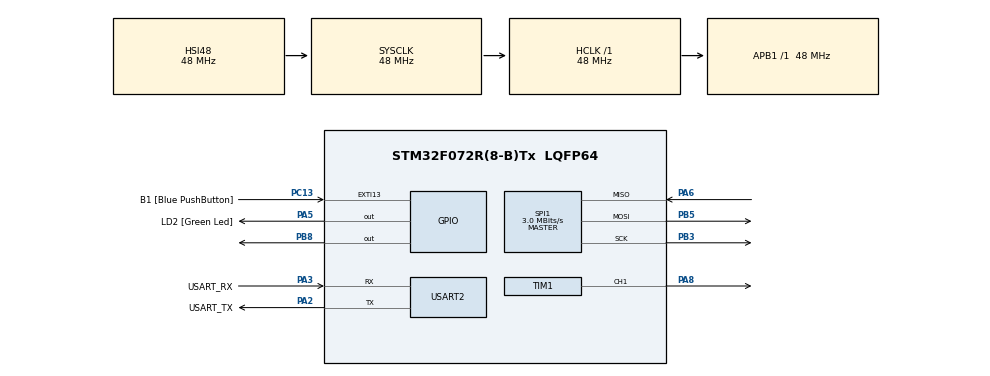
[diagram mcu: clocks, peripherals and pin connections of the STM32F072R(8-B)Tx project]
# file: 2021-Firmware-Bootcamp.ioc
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Mcu.Family=STM32F0
Mcu.Name=STM32F072R(8-B)Tx
Mcu.Package=LQFP64
PA13.GPIO_Label=TMS
PA13.Mode=Serial_Wire
PA13.Signal=SYS_SWDIO
PA14.GPIO_Label=TCK
PA14.Mode=Serial_Wire
PA14.Signal=SYS_SWCLK
PA2.GPIO_Label=USART_TX
PA2.GPIO_Mode=GPIO_MODE_AF_PP
PA2.GPIO_PuPd=GPIO_NOPULL
PA2.GPIO_Speed=GPIO_SPEED_FREQ_LOW
PA2.Mode=Asynchronous
PA2.Signal=USART2_TX
PA3.GPIO_Label=USART_RX
PA3.GPIO_Mode=GPIO_MODE_AF_PP
PA3.GPIO_PuPd=GPIO_NOPULL
PA3.GPIO_Speed=GPIO_SPEED_FREQ_LOW
PA3.Mode=Asynchronous
PA3.Signal=USART2_RX
PA5.GPIO_Label=LD2 [Green Led]
PA5.GPIO_Mode=GPIO_MODE_OUTPUT_PP
PA5.GPIO_PuPd=GPIO_NOPULL
PA5.GPIO_Speed=GPIO_SPEED_FREQ_LOW
PA5.Signal=GPIO_Output
PA6.Mode=Full_Duplex_Master
PA6.Signal=SPI1_MISO
PA8.Signal=S_TIM1_CH1
PB3.Mode=Full_Duplex_Master
PB3.Signal=SPI1_SCK
PB5.Mode=Full_Duplex_Master
PB5.Signal=SPI1_MOSI
PB8.Signal=GPIO_Output
PC13.GPIO_Label=B1 [Blue PushButton]
PC13.GPIO_ModeDefaultEXTI=GPIO_MODE_IT_FALLING
PC13.Signal=GPXTI13
PC14-OSC32_IN.Mode=LSE-External-Oscillator
PC14-OSC32_IN.Signal=RCC_OSC32_IN
PC15-OSC32_OUT.Mode=LSE-External-Oscillator
PC15-OSC32_OUT.Signal=RCC_OSC32_OUT
PF0-OSC_IN.Mode=HSE-External-Clock-Source
PF0-OSC_IN.Signal=RCC_OSC_IN
PF1-OSC_OUT.Signal=RCC_OSC_OUT
ProjectManager.HeapSize=0x200
ProjectManager.StackSize=0x400
ProjectManager.TargetToolchain=STM32CubeIDE
RCC.AHBFreq_Value=48000000
RCC.APB1Freq_Value=48000000
RCC.APB1TimFreq_Value=48000000
RCC.FLatency-AdvancedSettings=FLASH_LATENCY_1
RCC.HCLKFreq_Value=48000000
RCC.PLLDivider=RCC_PREDIV_DIV2
RCC.PLLMUL=RCC_PLL_MUL12
RCC.PREFETCH_ENABLE-AdvancedSettings=1
RCC.SYSCLKFreq_VALUE=48000000
RCC.SYSCLKSource=RCC_SYSCLKSOURCE_HSI48
SH.S_TIM1_CH1.0=TIM1_CH1,PWM Generation1 CH1
SPI1.BaudRatePrescaler=SPI_BAUDRATEPRESCALER_16
SPI1.CalculateBaudRate=3.0 MBits/s
SPI1.DataSize=SPI_DATASIZE_8BIT
SPI1.Direction=SPI_DIRECTION_2LINES
SPI1.FirstBit=SPI_FIRSTBIT_MSB
SPI1.Mode=SPI_MODE_MASTER
SPI1.NSSPMode=SPI_NSS_PULSE_DISABLE
SPI1.VirtualType=VM_MASTER
TIM1.Channel-PWM\ Generation1\ CH1=TIM_CHANNEL_1
TIM1.Prescaler=47
USART2.VirtualMode=VM_ASYNC
USART2.VirtualMode-Asynchronous=VM_ASYNC
VP_TIM1_VS_ClockSourceINT.Mode=Internal
board=NUCLEO-F072RB

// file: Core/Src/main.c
/* USER CODE BEGIN Header */
/**
  ******************************************************************************
  * @file           : main.c
  * @brief          : Main program body
  ******************************************************************************
  * @attention
  *
  * <h2><center>&copy; Copyright (c) 2021 STMicroelectronics.
  * All rights reserved.</center></h2>
  *
  * This software component is licensed by ST under BSD 3-Clause license,
  * the "License"; You may not use this file except in compliance with the
  * License. You may obtain a copy of the License at:
  *                        opensource.org/licenses/BSD-3-Clause
  *
  ******************************************************************************
  */
/* USER CODE END Header */
#include "main.h"
#include "spi.h"
#include "tim.h"
#include "usart.h"
#include "gpio.h"

/* USER CODE BEGIN PD */

#define ADC_MAX_VALUE 1023
#define DUTY_CYCLE_RANGE 3200

/* USER CODE END PD */

void SystemClock_Config(void);

int main(void)
{

  /* MCU Configuration--------------------------------------------------------*/

  /* Reset of all peripherals, Initializes the Flash interface and the Systick. */
  HAL_Init();

  /* Configure the system clock */
  SystemClock_Config();

  /* Initialize all configured peripherals */
  MX_GPIO_Init();
  MX_USART2_UART_Init();
  MX_SPI1_Init();
  MX_TIM1_Init();
  /* USER CODE BEGIN 2 */

  HAL_GPIO_WritePin(GPIOB, GPIO_PIN_8, GPIO_PIN_SET); //CS pin should be default high
  HAL_TIM_PWM_Start(&htim1, TIM_CHANNEL_1);  // Start PWM on channel 1

  //bits to send: 00000001 , 10000000, 00000000

  uint8_t txData[3]= {0x01, 0x80, 0};
  uint8_t rxData[3] = {0};
  uint16_t adcValue; //To only use the 10 bits that are useful
  uint16_t compareRegister;

  /* USER CODE END 2 */

  /* Infinite loop */
  /* USER CODE BEGIN WHILE */
  while (1)
  {
	  HAL_GPIO_WritePin(GPIOB, GPIO_PIN_8, GPIO_PIN_RESET); //CS low to start communication
	  HAL_SPI_TransmitReceive(&hspi1, txData, rxData, sizeof(txData), 1000);
	  HAL_GPIO_WritePin(GPIOB, GPIO_PIN_8, GPIO_PIN_SET); //CS high to end communication

	  //Useful data: last two bits of rxData[1] and all bits in rxData[2]

	  adcValue = (rxData[1] << 8) | rxData[2]; //converts the two bytes into 16bit number

	  compareRegister = ((float)adcValue/ADC_MAX_VALUE)*DUTY_CYCLE_RANGE + DUTY_CYCLE_RANGE;

	  __HAL_TIM_SET_COMPARE(&htim1, TIM_CHANNEL_1, compareRegister);

	  HAL_Delay(10);
    /* USER CODE END WHILE */

  }
}

void SystemClock_Config(void)
{
  RCC_OscInitTypeDef RCC_OscInitStruct = {0};
  RCC_ClkInitTypeDef RCC_ClkInitStruct = {0};
  RCC_PeriphCLKInitTypeDef PeriphClkInit = {0};

  /** Initializes the RCC Oscillators according to the specified parameters
  * in the RCC_OscInitTypeDef structure.
  */
  RCC_OscInitStruct.OscillatorType = RCC_OSCILLATORTYPE_HSI48;
  RCC_OscInitStruct.HSI48State = RCC_HSI48_ON;
  RCC_OscInitStruct.PLL.PLLState = RCC_PLL_NONE;
  if (HAL_RCC_OscConfig(&RCC_OscInitStruct) != HAL_OK)
  {
    Error_Handler();
  }

  /** Initializes the CPU, AHB and APB buses clocks
  */
  RCC_ClkInitStruct.ClockType = RCC_CLOCKTYPE_HCLK|RCC_CLOCKTYPE_SYSCLK
                              |RCC_CLOCKTYPE_PCLK1;
  RCC_ClkInitStruct.SYSCLKSource = RCC_SYSCLKSOURCE_HSI48;
  RCC_ClkInitStruct.AHBCLKDivider = RCC_SYSCLK_DIV1;
  RCC_ClkInitStruct.APB1CLKDivider = RCC_HCLK_DIV1;

  if (HAL_RCC_ClockConfig(&RCC_ClkInitStruct, FLASH_LATENCY_1) != HAL_OK)
  {
    Error_Handler();
  }
  PeriphClkInit.PeriphClockSelection = RCC_PERIPHCLK_USART2;
  PeriphClkInit.Usart2ClockSelection = RCC_USART2CLKSOURCE_PCLK1;
  if (HAL_RCCEx_PeriphCLKConfig(&PeriphClkInit) != HAL_OK)
  {
    Error_Handler();
  }
}

void Error_Handler(void)
{
  __disable_irq();
  while (1)
  {
  }
}
